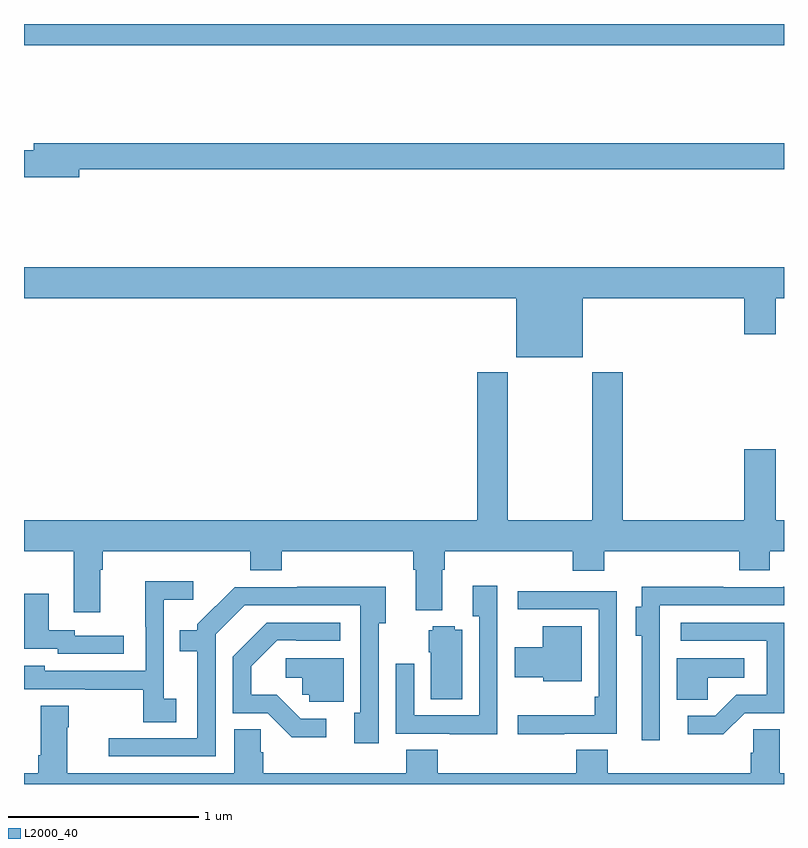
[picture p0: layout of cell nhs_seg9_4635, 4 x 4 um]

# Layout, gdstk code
import gdstk
lib = gdstk.Library(unit=1e-6, precision=1e-09)
def R(c, l, rs):  # rectangles x0, y0, x1, y1
    for r in rs: c.add(gdstk.rectangle(r[:2], r[2:], *l))
def P(c, l, *ps):  # polygons
    for p in ps: c.add(gdstk.Polygon(p, *l))
L2000_40 = (2000, 40)

nhs_seg9_4635 = lib.new_cell('nhs_seg9_4635')
R(nhs_seg9_4635, L2000_40, [(377,1228.388,381,1228.5)])
P(nhs_seg9_4635, L2000_40, [(377.29,1227.736),(381,1227.736),(381,1227.872),(377.051,1227.872),(377.051,1227.836),(377,1227.836),(377,1227.694),(377.29,1227.694)],
  [(379.942,1227.056),(380.792,1227.056),(380.792,1226.868),(380.956,1226.868),(380.956,1227.056),(381,1227.056),(381,1227.22),(377,1227.22),(377,1227.056),(379.592,1227.056),(379.592,1226.747),(379.942,1226.747)],
  [(377.401,1225.628),(377.414,1225.628),(377.414,1225.724),(378.191,1225.724),(378.191,1225.625),(378.356,1225.625),(378.356,1225.724),(379.049,1225.724),(379.049,1225.628),(379.061,1225.628),(379.061,1225.415),(379.201,1225.415),(379.201,1225.628),(379.214,1225.628),(379.214,1225.724),(379.889,1225.724),(379.889,1225.622),(380.054,1225.622),(380.054,1225.724),(380.765,1225.724),(380.765,1225.625),(380.925,1225.625),(380.925,1225.724),(381,1225.724),(381,1225.888),(380.956,1225.888),(380.956,1226.263),(380.792,1226.263),(380.792,1225.888),(380.15,1225.888),(380.15,1226.668),(379.99,1226.668),(379.99,1225.888),(379.545,1225.888),(379.545,1226.668),(379.385,1226.668),(379.385,1225.888),(377,1225.888),(377,1225.724),(377.261,1225.724),(377.261,1225.404),(377.401,1225.404)],
  [(377.8,1224.948),(377.736,1224.948),(377.736,1225.469),(377.89,1225.469),(377.89,1225.567),(377.638,1225.567),(377.638,1225.328),(377.64,1225.328),(377.64,1225.095),(377.109,1225.095),(377.109,1225.123),(377,1225.123),(377,1224.999),(377.323,1224.999),(377.323,1224.997),(377.628,1224.997),(377.628,1224.826),(377.8,1224.826)],
  [(379.491,1225.543),(379.361,1225.543),(379.361,1225.382),(379.395,1225.382),(379.395,1224.861),(379.053,1224.861),(379.053,1225.132),(378.957,1225.132),(378.957,1224.765),(379.241,1224.765),(379.241,1224.761),(379.491,1224.761)],
  [(380.346,1225.44),(381,1225.44),(381,1225.538),(380.996,1225.538),(380.996,1225.536),(380.681,1225.536),(380.681,1225.538),(380.25,1225.538),(380.25,1225.432),(380.219,1225.432),(380.219,1225.28),(380.25,1225.28),(380.25,1224.729),(380.346,1224.729)],
  [(378.009,1225.287),(378.162,1225.44),(378.771,1225.44),(378.771,1224.874),(378.737,1224.874),(378.737,1224.714),(378.867,1224.714),(378.867,1225.346),(378.904,1225.346),(378.904,1225.538),(378.439,1225.538),(378.439,1225.536),(378.108,1225.536),(377.913,1225.341),(377.913,1225.309),(377.821,1225.309),(377.821,1225.2),(377.912,1225.2),(377.912,1224.741),(377.445,1224.741),(377.445,1224.645),(378.009,1224.645)],
  [(379.843,1224.765),(380.121,1224.765),(380.121,1225.515),(379.599,1225.515),(379.599,1225.419),(380.025,1225.419),(380.025,1224.958),(380.005,1224.958),(380.005,1224.862),(379.599,1224.862),(379.599,1224.761),(379.843,1224.761)],
  [(377.524,1225.281),(377.268,1225.281),(377.268,1225.308),(377.131,1225.308),(377.131,1225.501),(377,1225.501),(377,1225.212),(377.178,1225.212),(377.178,1225.185),(377.524,1225.185)],
  [(380.793,1224.873),(381,1224.873),(381,1225.35),(380.457,1225.35),(380.457,1225.254),(380.91,1225.254),(380.91,1224.969),(380.748,1224.969),(380.637,1224.858),(380.493,1224.858),(380.493,1224.761),(380.68,1224.761)],
  [(378.592,1224.843),(378.456,1224.843),(378.329,1224.97),(378.196,1224.97),(378.196,1225.12),(378.333,1225.257),(378.433,1225.257),(378.433,1225.254),(378.664,1225.254),(378.664,1225.35),(378.278,1225.35),(378.099,1225.171),(378.099,1224.873),(378.282,1224.873),(378.41,1224.746),(378.592,1224.746)],
  [(379.936,1225.33),(379.73,1225.33),(379.73,1225.219),(379.584,1225.219),(379.584,1225.061),(379.734,1225.061),(379.734,1225.04),(379.936,1225.04)],
  [(379.306,1225.312),(379.266,1225.312),(379.266,1225.33),(379.152,1225.33),(379.152,1225.308),(379.13,1225.308),(379.13,1225.194),(379.142,1225.194),(379.142,1224.946),(379.306,1224.946)],
  [(380.599,1225.058),(380.791,1225.058),(380.791,1225.162),(380.435,1225.162),(380.435,1224.944),(380.599,1224.944)],
  [(378.682,1225.161),(378.378,1225.161),(378.378,1225.058),(378.465,1225.058),(378.465,1224.969),(378.501,1224.969),(378.501,1224.933),(378.682,1224.933)],
  [(381,1224.556),(380.977,1224.556),(380.977,1224.788),(380.838,1224.788),(380.838,1224.665),(380.825,1224.665),(380.825,1224.556),(380.072,1224.556),(380.072,1224.68),(379.907,1224.68),(379.907,1224.556),(379.178,1224.556),(379.178,1224.68),(379.013,1224.68),(379.013,1224.556),(378.26,1224.556),(378.26,1224.666),(378.245,1224.666),(378.245,1224.788),(378.107,1224.788),(378.107,1224.556),(377.227,1224.556),(377.227,1224.8),(377.235,1224.8),(377.235,1224.913),(377.087,1224.913),(377.087,1224.652),(377.075,1224.652),(377.075,1224.556),(377,1224.556),(377,1224.5),(381,1224.5)])

lib.write_gds('nhs_seg9_4635.gds')
